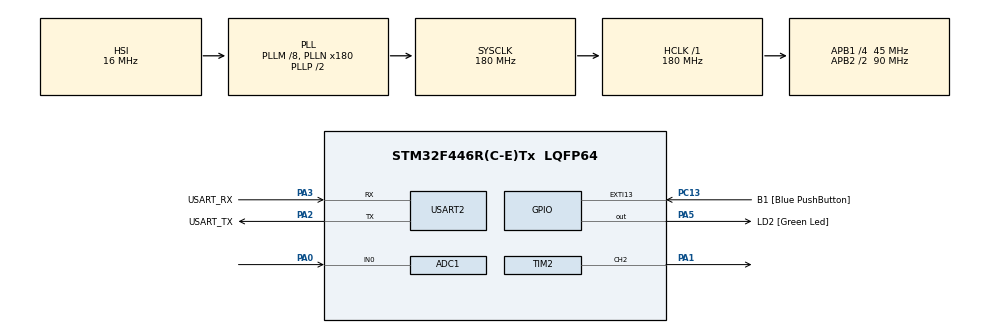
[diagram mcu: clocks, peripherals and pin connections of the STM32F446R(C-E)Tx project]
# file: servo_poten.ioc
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ADC1.Channel-0\#ChannelRegularConversion=ADC_CHANNEL_0
ADC1.ContinuousConvMode=ENABLE
ADC1.NbrOfConversionFlag=1
ADC1.Rank-0\#ChannelRegularConversion=1
ADC1.SamplingTime-0\#ChannelRegularConversion=ADC_SAMPLETIME_3CYCLES
ADC1.master=1
Mcu.Family=STM32F4
Mcu.Name=STM32F446R(C-E)Tx
Mcu.Package=LQFP64
NVIC.PriorityGroup=NVIC_PRIORITYGROUP_0
PA0-WKUP.Signal=ADCx_IN0
PA1.Signal=S_TIM2_CH2
PA13.GPIO_Label=TMS
PA13.Mode=Serial_Wire
PA13.Signal=SYS_JTMS-SWDIO
PA14.GPIO_Label=TCK
PA14.Mode=Serial_Wire
PA14.Signal=SYS_JTCK-SWCLK
PA2.GPIO_Label=USART_TX
PA2.Mode=Asynchronous
PA2.Signal=USART2_TX
PA3.GPIO_Label=USART_RX
PA3.Mode=Asynchronous
PA3.Signal=USART2_RX
PA5.GPIO_Label=LD2 [Green Led]
PA5.Signal=GPIO_Output
PB3.GPIO_Label=SWO
PB3.Signal=SYS_JTDO-SWO
PC13.GPIO_Label=B1 [Blue PushButton]
PC13.GPIO_ModeDefaultEXTI=GPIO_MODE_IT_FALLING
PC13.Signal=GPXTI13
PC14-OSC32_IN.Mode=LSE-External-Oscillator
PC14-OSC32_IN.Signal=RCC_OSC32_IN
PC15-OSC32_OUT.Mode=LSE-External-Oscillator
PC15-OSC32_OUT.Signal=RCC_OSC32_OUT
PH0-OSC_IN.Mode=HSE-External-Oscillator
PH0-OSC_IN.Signal=RCC_OSC_IN
PH1-OSC_OUT.Mode=HSE-External-Oscillator
PH1-OSC_OUT.Signal=RCC_OSC_OUT
ProjectManager.HeapSize=0x200
ProjectManager.StackSize=0x400
ProjectManager.TargetToolchain=STM32CubeIDE
RCC.48MHZClocksFreq_Value=84000000
RCC.AHBFreq_Value=180000000
RCC.APB1CLKDivider=RCC_HCLK_DIV4
RCC.APB1Freq_Value=45000000
RCC.APB1TimFreq_Value=90000000
RCC.APB2CLKDivider=RCC_HCLK_DIV2
RCC.APB2Freq_Value=90000000
RCC.APB2TimFreq_Value=180000000
RCC.CortexFreq_Value=180000000
RCC.FLatency-AdvancedSettings=FLASH_LATENCY_5
RCC.HCLKFreq_Value=180000000
RCC.HSE_VALUE=8000000
RCC.HSI_VALUE=16000000
RCC.PLLM=8
RCC.PLLN=180
RCC.SYSCLKFreq_VALUE=180000000
RCC.SYSCLKSource=RCC_SYSCLKSOURCE_PLLCLK
RCC.USBFreq_Value=180000000
RCC.VCOOutputFreq_Value=360000000
SH.ADCx_IN0.0=ADC1_IN0,IN0
SH.S_TIM2_CH2.0=TIM2_CH2,PWM Generation2 CH2
TIM2.Channel-PWM\ Generation2\ CH2=TIM_CHANNEL_2
TIM2.Period=10000-1
TIM2.Prescaler=180-1
USART2.VirtualMode=VM_ASYNC
board=NUCLEO-F446RE

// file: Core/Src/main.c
/* USER CODE BEGIN Header */
/**
  ******************************************************************************
  * @file           : main.c
  * @brief          : Main program body
  ******************************************************************************
  * @attention
  *
  * Copyright (c) 2024 STMicroelectronics.
  * All rights reserved.
  *
  * This software is licensed under terms that can be found in the LICENSE file
  * in the root directory of this software component.
  * If no LICENSE file comes with this software, it is provided AS-IS.
  *
  ******************************************************************************
  */
/* USER CODE END Header */
#include "main.h"

/* USER CODE BEGIN Includes */
#include <stdio.h>
/* USER CODE END Includes */

ADC_HandleTypeDef hadc1;

TIM_HandleTypeDef htim2;

UART_HandleTypeDef huart2;

/* USER CODE BEGIN PV */

// potentiometer
uint16_t readValue;

// servo motor
uint16_t pulse;

// debug
uint16_t angle;

/* USER CODE END PV */

void SystemClock_Config(void);
static void MX_GPIO_Init(void);
static void MX_USART2_UART_Init(void);
static void MX_ADC1_Init(void);
static void MX_TIM2_Init(void);

/* USER CODE BEGIN 0 */

uint16_t map(uint16_t in_val, uint16_t in_1, uint16_t in_2, uint16_t out_1, uint16_t out_2){

	// potentiometer to servo

	uint16_t tmp = (in_val * (out_2 - out_1) / (in_2 - in_1)) + out_1;
	return tmp;
}

/* USER CODE END 0 */

int main(void)
{

  /* MCU Configuration--------------------------------------------------------*/

  /* Reset of all peripherals, Initializes the Flash interface and the Systick. */
  HAL_Init();

  /* Configure the system clock */
  SystemClock_Config();

  /* Initialize all configured peripherals */
  MX_GPIO_Init();
  MX_USART2_UART_Init();
  MX_ADC1_Init();
  MX_TIM2_Init();
  /* USER CODE BEGIN 2 */
  HAL_TIM_PWM_Start(&htim2, TIM_CHANNEL_2);
  /* USER CODE END 2 */

  /* Infinite loop */
  /* USER CODE BEGIN WHILE */
  while (1)
  {

	  /** potentiometer */

	  HAL_ADC_Start(&hadc1);
	  HAL_ADC_PollForConversion(&hadc1,1000);
	  readValue = HAL_ADC_GetValue(&hadc1);
	  HAL_ADC_Stop(&hadc1);

	  /* servo motor */

	  pulse = map(readValue, 0, 4095, 250, 1250);
	  __HAL_TIM_SET_COMPARE(&htim2, TIM_CHANNEL_2, pulse);

	  /* angle */
	  angle = map(pulse, 250, 1250, 0, 180);
	  HAL_Delay(10);

    /* USER CODE END WHILE */

  }
}

void SystemClock_Config(void)
{
  RCC_OscInitTypeDef RCC_OscInitStruct = {0};
  RCC_ClkInitTypeDef RCC_ClkInitStruct = {0};

  /** Configure the main internal regulator output voltage
  */
  __HAL_RCC_PWR_CLK_ENABLE();
  __HAL_PWR_VOLTAGESCALING_CONFIG(PWR_REGULATOR_VOLTAGE_SCALE1);

  /** Initializes the RCC Oscillators according to the specified parameters
  * in the RCC_OscInitTypeDef structure.
  */
  RCC_OscInitStruct.OscillatorType = RCC_OSCILLATORTYPE_HSI;
  RCC_OscInitStruct.HSIState = RCC_HSI_ON;
  RCC_OscInitStruct.HSICalibrationValue = RCC_HSICALIBRATION_DEFAULT;
  RCC_OscInitStruct.PLL.PLLState = RCC_PLL_ON;
  RCC_OscInitStruct.PLL.PLLSource = RCC_PLLSOURCE_HSI;
  RCC_OscInitStruct.PLL.PLLM = 8;
  RCC_OscInitStruct.PLL.PLLN = 180;
  RCC_OscInitStruct.PLL.PLLP = RCC_PLLP_DIV2;
  RCC_OscInitStruct.PLL.PLLQ = 2;
  RCC_OscInitStruct.PLL.PLLR = 2;
  if (HAL_RCC_OscConfig(&RCC_OscInitStruct) != HAL_OK)
  {
    Error_Handler();
  }

  /** Activate the Over-Drive mode
  */
  if (HAL_PWREx_EnableOverDrive() != HAL_OK)
  {
    Error_Handler();
  }

  /** Initializes the CPU, AHB and APB buses clocks
  */
  RCC_ClkInitStruct.ClockType = RCC_CLOCKTYPE_HCLK|RCC_CLOCKTYPE_SYSCLK
                              |RCC_CLOCKTYPE_PCLK1|RCC_CLOCKTYPE_PCLK2;
  RCC_ClkInitStruct.SYSCLKSource = RCC_SYSCLKSOURCE_PLLCLK;
  RCC_ClkInitStruct.AHBCLKDivider = RCC_SYSCLK_DIV1;
  RCC_ClkInitStruct.APB1CLKDivider = RCC_HCLK_DIV4;
  RCC_ClkInitStruct.APB2CLKDivider = RCC_HCLK_DIV2;

  if (HAL_RCC_ClockConfig(&RCC_ClkInitStruct, FLASH_LATENCY_5) != HAL_OK)
  {
    Error_Handler();
  }
}

static void MX_ADC1_Init(void)
{

  ADC_ChannelConfTypeDef sConfig = {0};

  /** Configure the global features of the ADC (Clock, Resolution, Data Alignment and number of conversion)
  */
  hadc1.Instance = ADC1;
  hadc1.Init.ClockPrescaler = ADC_CLOCK_SYNC_PCLK_DIV4;
  hadc1.Init.Resolution = ADC_RESOLUTION_12B;
  hadc1.Init.ScanConvMode = DISABLE;
  hadc1.Init.ContinuousConvMode = ENABLE;
  hadc1.Init.DiscontinuousConvMode = DISABLE;
  hadc1.Init.ExternalTrigConvEdge = ADC_EXTERNALTRIGCONVEDGE_NONE;
  hadc1.Init.ExternalTrigConv = ADC_SOFTWARE_START;
  hadc1.Init.DataAlign = ADC_DATAALIGN_RIGHT;
  hadc1.Init.NbrOfConversion = 1;
  hadc1.Init.DMAContinuousRequests = DISABLE;
  hadc1.Init.EOCSelection = ADC_EOC_SINGLE_CONV;
  if (HAL_ADC_Init(&hadc1) != HAL_OK)
  {
    Error_Handler();
  }

  /** Configure for the selected ADC regular channel its corresponding rank in the sequencer and its sample time.
  */
  sConfig.Channel = ADC_CHANNEL_0;
  sConfig.Rank = 1;
  sConfig.SamplingTime = ADC_SAMPLETIME_3CYCLES;
  if (HAL_ADC_ConfigChannel(&hadc1, &sConfig) != HAL_OK)
  {
    Error_Handler();
  }

}

static void MX_TIM2_Init(void)
{

  TIM_MasterConfigTypeDef sMasterConfig = {0};
  TIM_OC_InitTypeDef sConfigOC = {0};

  htim2.Instance = TIM2;
  htim2.Init.Prescaler = 180-1;
  htim2.Init.CounterMode = TIM_COUNTERMODE_UP;
  htim2.Init.Period = 10000-1;
  htim2.Init.ClockDivision = TIM_CLOCKDIVISION_DIV1;
  htim2.Init.AutoReloadPreload = TIM_AUTORELOAD_PRELOAD_DISABLE;
  if (HAL_TIM_PWM_Init(&htim2) != HAL_OK)
  {
    Error_Handler();
  }
  sMasterConfig.MasterOutputTrigger = TIM_TRGO_RESET;
  sMasterConfig.MasterSlaveMode = TIM_MASTERSLAVEMODE_DISABLE;
  if (HAL_TIMEx_MasterConfigSynchronization(&htim2, &sMasterConfig) != HAL_OK)
  {
    Error_Handler();
  }
  sConfigOC.OCMode = TIM_OCMODE_PWM1;
  sConfigOC.Pulse = 0;
  sConfigOC.OCPolarity = TIM_OCPOLARITY_HIGH;
  sConfigOC.OCFastMode = TIM_OCFAST_DISABLE;
  if (HAL_TIM_PWM_ConfigChannel(&htim2, &sConfigOC, TIM_CHANNEL_2) != HAL_OK)
  {
    Error_Handler();
  }
  HAL_TIM_MspPostInit(&htim2);

}

static void MX_USART2_UART_Init(void)
{

  huart2.Instance = USART2;
  huart2.Init.BaudRate = 115200;
  huart2.Init.WordLength = UART_WORDLENGTH_8B;
  huart2.Init.StopBits = UART_STOPBITS_1;
  huart2.Init.Parity = UART_PARITY_NONE;
  huart2.Init.Mode = UART_MODE_TX_RX;
  huart2.Init.HwFlowCtl = UART_HWCONTROL_NONE;
  huart2.Init.OverSampling = UART_OVERSAMPLING_16;
  if (HAL_UART_Init(&huart2) != HAL_OK)
  {
    Error_Handler();
  }

}

static void MX_GPIO_Init(void)
{
  GPIO_InitTypeDef GPIO_InitStruct = {0};

  /* GPIO Ports Clock Enable */
  __HAL_RCC_GPIOC_CLK_ENABLE();
  __HAL_RCC_GPIOH_CLK_ENABLE();
  __HAL_RCC_GPIOA_CLK_ENABLE();
  __HAL_RCC_GPIOB_CLK_ENABLE();

  /*Configure GPIO pin Output Level */
  HAL_GPIO_WritePin(LD2_GPIO_Port, LD2_Pin, GPIO_PIN_RESET);

  /*Configure GPIO pin : B1_Pin */
  GPIO_InitStruct.Pin = B1_Pin;
  GPIO_InitStruct.Mode = GPIO_MODE_IT_FALLING;
  GPIO_InitStruct.Pull = GPIO_NOPULL;
  HAL_GPIO_Init(B1_GPIO_Port, &GPIO_InitStruct);

  /*Configure GPIO pin : LD2_Pin */
  GPIO_InitStruct.Pin = LD2_Pin;
  GPIO_InitStruct.Mode = GPIO_MODE_OUTPUT_PP;
  GPIO_InitStruct.Pull = GPIO_NOPULL;
  GPIO_InitStruct.Speed = GPIO_SPEED_FREQ_LOW;
  HAL_GPIO_Init(LD2_GPIO_Port, &GPIO_InitStruct);

}

void Error_Handler(void)
{
  __disable_irq();
  while (1)
  {
  }
}
